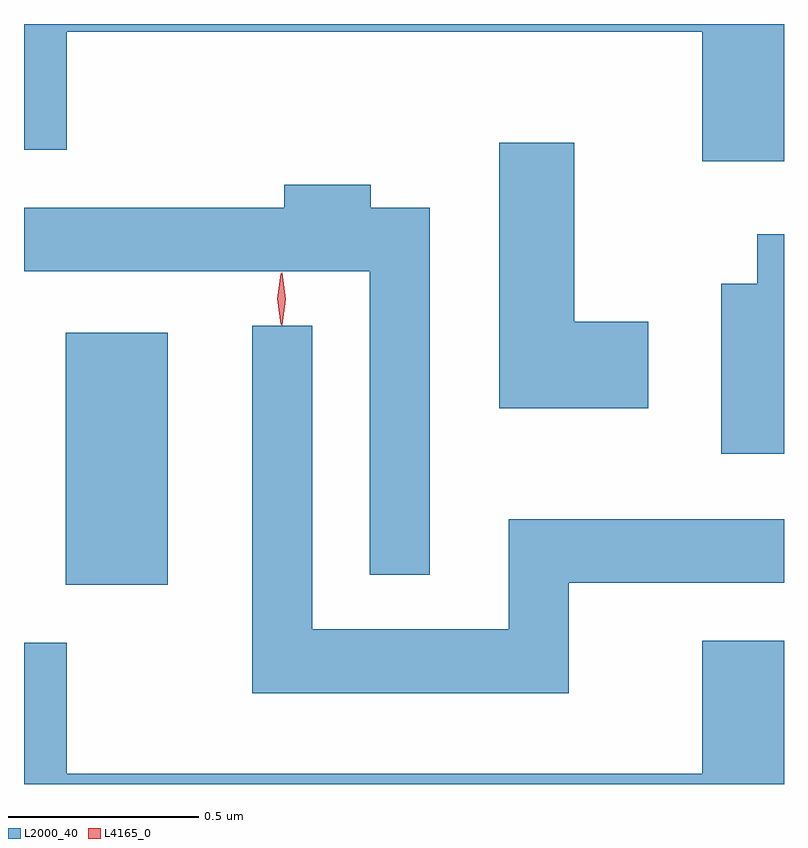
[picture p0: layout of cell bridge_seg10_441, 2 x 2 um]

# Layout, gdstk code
import gdstk
lib = gdstk.Library(unit=1e-6, precision=1e-09)
def R(c, l, rs):  # rectangles x0, y0, x1, y1
    for r in rs: c.add(gdstk.rectangle(r[:2], r[2:], *l))
def P(c, l, *ps):  # polygons
    for p in ps: c.add(gdstk.Polygon(p, *l))
L2000_40 = (2000, 40)
L4165_0 = (4165, 0)

bridge_seg10_441 = lib.new_cell('bridge_seg10_441')
R(bridge_seg10_441, L2000_40, [(1441.816,2092.481,1442.084,2093.144)])
P(bridge_seg10_441, L2000_40, [(1443.706,2093.957),(1441.706,2093.957),(1441.706,2093.626),(1441.819,2093.626),(1441.819,2093.936),(1443.491,2093.936),(1443.491,2093.596),(1443.706,2093.596)],
  [(1443.349,2093.174),(1443.154,2093.174),(1443.154,2093.644),(1442.956,2093.644),(1442.956,2092.946),(1443.349,2092.946)],
  [(1442.774,2093.474),(1442.619,2093.474),(1442.619,2093.534),(1442.391,2093.534),(1442.391,2093.474),(1441.706,2093.474),(1441.706,2093.306),(1442.616,2093.306),(1442.616,2092.508),(1442.774,2092.508)],
  [(1443.706,2093.404),(1443.636,2093.404),(1443.636,2093.274),(1443.541,2093.274),(1443.541,2092.826),(1443.706,2092.826)],
  [(1443.139,2092.486),(1443.706,2092.486),(1443.706,2092.654),(1442.981,2092.654),(1442.981,2092.364),(1442.464,2092.364),(1442.464,2093.163),(1442.306,2093.163),(1442.306,2092.196),(1443.139,2092.196)],
  [(1441.706,2092.329),(1441.706,2091.957),(1443.706,2091.957),(1443.706,2092.334),(1443.491,2092.334),(1443.491,2091.984),(1441.819,2091.984),(1441.819,2092.329)])
P(bridge_seg10_441, L4165_0, [(1442.384,2093.164),(1442.375,2093.233),(1442.384,2093.302),(1442.385,2093.303),(1442.386,2093.302),(1442.395,2093.233),(1442.386,2093.164),(1442.385,2093.164)],
  [(1442.382,2093.167),(1442.382,2093.167),(1442.372,2093.234),(1442.382,2093.3),(1442.382,2093.3),(1442.383,2093.3),(1442.392,2093.234),(1442.383,2093.167)])

lib.write_gds('bridge_seg10_441.gds')
